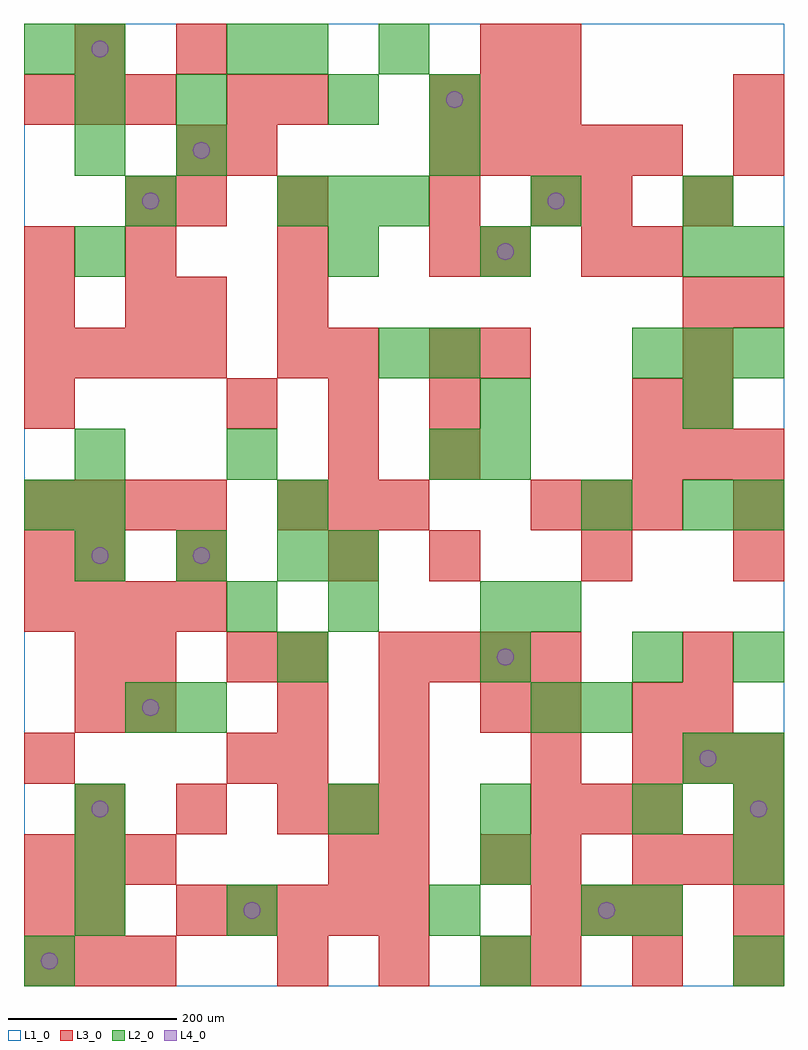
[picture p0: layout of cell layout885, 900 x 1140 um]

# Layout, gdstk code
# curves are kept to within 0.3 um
import gdstk
lib = gdstk.Library(unit=1e-6, precision=1e-09)
def R(c, l, rs):  # rectangles x0, y0, x1, y1
    for r in rs: c.add(gdstk.rectangle(r[:2], r[2:], *l))
def A(c, l, x, y, w, h, nx, ny, dx, dy):  # array of equal rectangles
    R(c, l, [(x+i*dx, y+j*dy, x+i*dx+w, y+j*dy+h) for i in range(nx) for j in range(ny)])
def P(c, l, *ps):  # polygons
    for p in ps: c.add(gdstk.Polygon(p, *l))
L1_0 = (1, 0)
L2_0 = (2, 0)
L3_0 = (3, 0)
L4_0 = (4, 0)

layout885 = lib.new_cell('layout885')
R(layout885, L1_0, [(0,0,900,1140)])
A(layout885, L2_0, 0, 0, 60, 60, 1, 3, 0, 540)
A(layout885, L2_0, 60, 60, 60, 60, 1, 3, 0, 60)
A(layout885, L2_0, 660, 60, 60, 60, 1, 3, 0, 240)
A(layout885, L2_0, 840, 120, 60, 60, 1, 3, 0, 60)
A(layout885, L2_0, 360, 180, 60, 60, 3, 1, 180, 0)
A(layout885, L2_0, 60, 480, 60, 60, 3, 1, 120, 0)
A(layout885, L2_0, 720, 720, 60, 60, 3, 1, 60, 0)
A(layout885, L2_0, 300, 900, 60, 60, 3, 1, 60, 0)
A(layout885, L2_0, 60, 960, 60, 60, 1, 3, 0, 60)
R(layout885, L2_0, [(540,0,600,60), (840,0,900,60), (240,60,300,120), (480,60,540,120), (720,60,780,120), (540,120,600,180), (780,240,840,300), (120,300,180,360), (180,300,240,360), (600,300,660,360), (300,360,360,420), (540,360,600,420), (720,360,780,420), (840,360,900,420), (240,420,300,480), (360,420,420,480), (540,420,600,480), (600,420,660,480), (360,480,420,540), (60,540,120,600), (300,540,360,600), (780,540,840,600), (840,540,900,600), (60,600,120,660), (240,600,300,660), (480,600,540,660), (540,600,600,660), (540,660,600,720), (780,660,840,720), (420,720,480,780), (480,720,540,780), (60,840,120,900), (360,840,420,900), (540,840,600,900), (780,840,840,900), (840,840,900,900), (120,900,180,960), (600,900,660,960), (780,900,840,960), (180,960,240,1020), (480,960,540,1020), (180,1020,240,1080), (360,1020,420,1080), (480,1020,540,1080), (240,1080,300,1140), (300,1080,360,1140), (420,1080,480,1140)])
A(layout885, L3_0, 0, 0, 60, 60, 3, 2, 60, 120)
A(layout885, L3_0, 300, 0, 60, 60, 3, 2, 120, 300)
A(layout885, L3_0, 600, 0, 60, 60, 3, 1, 120, 0)
A(layout885, L3_0, 180, 60, 60, 60, 5, 1, 60, 0)
A(layout885, L3_0, 600, 60, 60, 60, 3, 2, 60, 120)
A(layout885, L3_0, 420, 120, 60, 60, 1, 3, 0, 60)
A(layout885, L3_0, 720, 120, 60, 60, 3, 2, 60, 120)
A(layout885, L3_0, 60, 180, 60, 60, 3, 1, 120, 0)
A(layout885, L3_0, 420, 360, 60, 60, 4, 1, 60, 0)
A(layout885, L3_0, 0, 420, 60, 60, 4, 2, 60, 120)
A(layout885, L3_0, 360, 480, 60, 60, 1, 3, 0, 120)
A(layout885, L3_0, 480, 480, 60, 60, 3, 1, 180, 0)
A(layout885, L3_0, 300, 540, 60, 60, 3, 1, 60, 0)
A(layout885, L3_0, 600, 540, 60, 60, 3, 1, 60, 0)
A(layout885, L3_0, 720, 600, 60, 60, 3, 1, 60, 0)
A(layout885, L3_0, 240, 660, 60, 60, 3, 1, 120, 0)
A(layout885, L3_0, 780, 660, 60, 60, 1, 3, 0, 60)
A(layout885, L3_0, 0, 720, 60, 60, 4, 1, 60, 0)
A(layout885, L3_0, 300, 780, 60, 60, 1, 3, 0, 120)
A(layout885, L3_0, 120, 840, 60, 60, 3, 1, 180, 0)
A(layout885, L3_0, 480, 960, 60, 60, 5, 1, 60, 0)
A(layout885, L3_0, 0, 1020, 60, 60, 3, 1, 60, 0)
A(layout885, L3_0, 480, 1020, 60, 60, 3, 1, 60, 0)
R(layout885, L3_0, [(0,60,60,120), (60,60,120,120), (840,60,900,120), (360,120,420,180), (540,120,600,180), (600,120,660,180), (360,180,420,240), (840,180,900,240), (0,240,60,300), (240,240,300,300), (300,240,360,300), (600,240,660,300), (60,300,120,360), (120,300,180,360), (600,300,660,360), (720,300,780,360), (780,300,840,360), (60,360,120,420), (120,360,180,420), (240,360,300,420), (300,360,360,420), (780,360,840,420), (0,480,60,540), (60,480,120,540), (180,480,240,540), (840,540,900,600), (480,600,540,660), (0,660,60,720), (720,660,780,720), (300,720,360,780), (480,720,540,780), (540,720,600,780), (0,780,60,840), (120,780,180,840), (180,780,240,840), (840,780,900,840), (0,840,60,900), (540,840,600,900), (660,840,720,900), (720,840,780,900), (120,900,180,960), (180,900,240,960), (480,900,540,960), (600,900,660,960), (660,900,720,960), (780,900,840,960), (180,960,240,1020), (240,960,300,1020), (840,960,900,1020), (240,1020,300,1080), (840,1020,900,1080), (60,1080,120,1140), (180,1080,240,1140), (540,1080,600,1140), (600,1080,660,1140)])
P(layout885, L4_0, [(40,30),(39.239,33.827),(37.071,37.071),(33.827,39.239),(30,40),(26.173,39.239),(22.929,37.071),(20.761,33.827),(20,30),(20.761,26.173),(22.929,22.929),(26.173,20.761),(30,20),(33.827,20.761),(37.071,22.929),(39.239,26.173)],
  [(100,210),(99.239,213.827),(97.071,217.071),(93.827,219.239),(90,220),(86.173,219.239),(82.929,217.071),(80.761,213.827),(80,210),(80.761,206.173),(82.929,202.929),(86.173,200.761),(90,200),(93.827,200.761),(97.071,202.929),(99.239,206.173)],
  [(100,510),(99.239,513.827),(97.071,517.071),(93.827,519.239),(90,520),(86.173,519.239),(82.929,517.071),(80.761,513.827),(80,510),(80.761,506.173),(82.929,502.929),(86.173,500.761),(90,500),(93.827,500.761),(97.071,502.929),(99.239,506.173)],
  [(100,1110),(99.239,1113.827),(97.071,1117.071),(93.827,1119.239),(90,1120),(86.173,1119.239),(82.929,1117.071),(80.761,1113.827),(80,1110),(80.761,1106.173),(82.929,1102.929),(86.173,1100.761),(90,1100),(93.827,1100.761),(97.071,1102.929),(99.239,1106.173)],
  [(160,330),(159.239,333.827),(157.071,337.071),(153.827,339.239),(150,340),(146.173,339.239),(142.929,337.071),(140.761,333.827),(140,330),(140.761,326.173),(142.929,322.929),(146.173,320.761),(150,320),(153.827,320.761),(157.071,322.929),(159.239,326.173)],
  [(160,930),(159.239,933.827),(157.071,937.071),(153.827,939.239),(150,940),(146.173,939.239),(142.929,937.071),(140.761,933.827),(140,930),(140.761,926.173),(142.929,922.929),(146.173,920.761),(150,920),(153.827,920.761),(157.071,922.929),(159.239,926.173)],
  [(220,510),(219.239,513.827),(217.071,517.071),(213.827,519.239),(210,520),(206.173,519.239),(202.929,517.071),(200.761,513.827),(200,510),(200.761,506.173),(202.929,502.929),(206.173,500.761),(210,500),(213.827,500.761),(217.071,502.929),(219.239,506.173)],
  [(220,990),(219.239,993.827),(217.071,997.071),(213.827,999.239),(210,1000),(206.173,999.239),(202.929,997.071),(200.761,993.827),(200,990),(200.761,986.173),(202.929,982.929),(206.173,980.761),(210,980),(213.827,980.761),(217.071,982.929),(219.239,986.173)],
  [(280,90),(279.239,93.827),(277.071,97.071),(273.827,99.239),(270,100),(266.173,99.239),(262.929,97.071),(260.761,93.827),(260,90),(260.761,86.173),(262.929,82.929),(266.173,80.761),(270,80),(273.827,80.761),(277.071,82.929),(279.239,86.173)],
  [(520,1050),(519.239,1053.827),(517.071,1057.071),(513.827,1059.239),(510,1060),(506.173,1059.239),(502.929,1057.071),(500.761,1053.827),(500,1050),(500.761,1046.173),(502.929,1042.929),(506.173,1040.761),(510,1040),(513.827,1040.761),(517.071,1042.929),(519.239,1046.173)],
  [(580,390),(579.239,393.827),(577.071,397.071),(573.827,399.239),(570,400),(566.173,399.239),(562.929,397.071),(560.761,393.827),(560,390),(560.761,386.173),(562.929,382.929),(566.173,380.761),(570,380),(573.827,380.761),(577.071,382.929),(579.239,386.173)],
  [(580,870),(579.239,873.827),(577.071,877.071),(573.827,879.239),(570,880),(566.173,879.239),(562.929,877.071),(560.761,873.827),(560,870),(560.761,866.173),(562.929,862.929),(566.173,860.761),(570,860),(573.827,860.761),(577.071,862.929),(579.239,866.173)],
  [(640,930),(639.239,933.827),(637.071,937.071),(633.827,939.239),(630,940),(626.173,939.239),(622.929,937.071),(620.761,933.827),(620,930),(620.761,926.173),(622.929,922.929),(626.173,920.761),(630,920),(633.827,920.761),(637.071,922.929),(639.239,926.173)],
  [(700,90),(699.239,93.827),(697.071,97.071),(693.827,99.239),(690,100),(686.173,99.239),(682.929,97.071),(680.761,93.827),(680,90),(680.761,86.173),(682.929,82.929),(686.173,80.761),(690,80),(693.827,80.761),(697.071,82.929),(699.239,86.173)],
  [(820,270),(819.239,273.827),(817.071,277.071),(813.827,279.239),(810,280),(806.173,279.239),(802.929,277.071),(800.761,273.827),(800,270),(800.761,266.173),(802.929,262.929),(806.173,260.761),(810,260),(813.827,260.761),(817.071,262.929),(819.239,266.173)],
  [(880,210),(879.239,213.827),(877.071,217.071),(873.827,219.239),(870,220),(866.173,219.239),(862.929,217.071),(860.761,213.827),(860,210),(860.761,206.173),(862.929,202.929),(866.173,200.761),(870,200),(873.827,200.761),(877.071,202.929),(879.239,206.173)])

lib.write_gds('layout885.gds')
